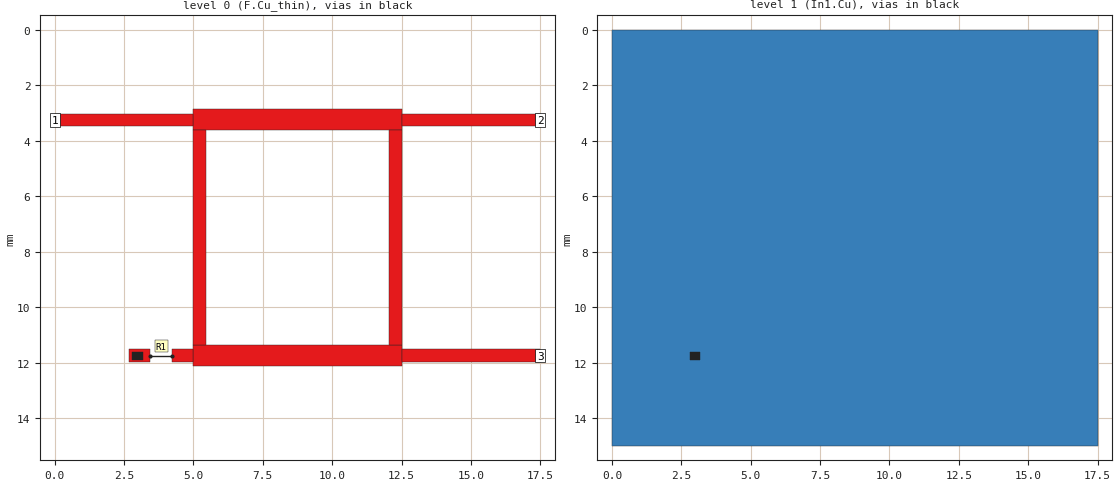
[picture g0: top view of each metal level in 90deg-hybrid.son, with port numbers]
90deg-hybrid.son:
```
FTYP SONPROJ 19 ! Sonnet Project File
VER 18.56
HEADER
LIC antikernel2.1.51813
DAT 11/27/2022 23:17:01
BUILT_BY_CREATED xgeom 18.56 11/27/2022 18:54:38
BUILT_BY_SAVED sonnet 18.56
MDATE 11/27/2022 20:04:49
HDATE 11/27/2022 20:04:49
END HEADER
DIM
ANG DEG
CAP PF
CON /OH
FREQ GHZ
IND NH
LNG MM
RES OH
END DIM
CONTROL
VARSWP
OPTIONS  -dj
SPEED 0
CACHE_ABS 2
Q_ACC N
END CONTROL
GEO
STF ../../sonnet-techfiles/oshpark/4l/oshpark-4l-nosoldermask.stf
TMET "Free Space" 0 FREESPACE 376.7303136 0 0 0
BMET "Free Space" 0 FREESPACE 376.7303136 0 0 0
BOX 0 17.5 15 1400 1200 20 0
DIM STD YDIR -1
POS 1.148053831 -8.283392231
NOM 9.25
REF1 POLY 136 1
2
REF2 POLY 135 1
1
END
DIM STD XDIR 1
POS 6.47084287 -0.5718346865
NOM 7.5
REF1 POLY 135 1
0
REF2 POLY 135 1
1
END
LORGN 0 15 U 
POR1 BOX
POLY 140 1
3
1 50 0 0 0 -4.440892099e-16 3.25 
POR1 BOX
POLY 141 1
1
2 50 0 0 0 17.5 3.25 
POR1 BOX
POLY 142 1
1
3 50 0 0 0 17.5 11.75 
SMD 0 "R1"
ID 147
GNDREF AUTO
SBOX 3.64375 4.03125 11.691875 11.808125
PBSHW N
LPOS 3.8375 11.691875
TYPE IDEAL RES 50
SMDP 0 4.225 11.75 R 4 1 
EXSMDP
GNDREF AUTO
TERMW FEED
END EXSMDP
SMDP 0 3.45 11.75 L 5 2 
EXSMDP
GNDREF AUTO
TERMW FEED
END EXSMDP
END
NUM 11
0 5 1 N 135 1 1 100 100 0 0 0 Y
TLAYNAM F.Cu_thin INH
5 2.875
12.5 2.875
12.5 3.625
5 3.625
5 2.875
END
0 5 1 N 136 1 1 100 100 0 0 0 Y
TLAYNAM F.Cu_thin INH
5 11.375
12.5 11.375
12.5 12.125
5 12.125
5 11.375
END
0 5 1 N 138 1 1 100 100 0 0 0 Y
TLAYNAM F.Cu_thin INH
5 3.625
5.45 3.625
5.45 11.375
5 11.375
5 3.625
END
0 5 1 N 139 1 1 100 100 0 0 0 Y
TLAYNAM F.Cu_thin INH
12.05 3.625
12.5 3.625
12.5 11.375
12.05 11.375
12.05 3.625
END
0 5 1 N 140 1 1 100 100 0 0 0 Y
TLAYNAM F.Cu_thin INH
-4.440892099e-16 3.025
5 3.025
5 3.475
-4.440892099e-16 3.475
-4.440892099e-16 3.025
END
0 5 1 N 141 1 1 100 100 0 0 0 Y
TLAYNAM F.Cu_thin INH
12.5 3.025
17.5 3.025
17.5 3.475
12.5 3.475
12.5 3.025
END
0 5 1 N 142 1 1 100 100 0 0 0 Y
TLAYNAM F.Cu_thin INH
12.5 11.525
17.5 11.525
17.5 11.975
12.5 11.975
12.5 11.525
END
0 5 1 N 143 1 1 100 100 0 0 0 Y
TLAYNAM F.Cu_thin INH
4.225 11.525
5 11.525
5 11.975
4.225 11.975
4.225 11.525
END
0 5 1 N 146 1 1 100 100 0 0 0 Y
TLAYNAM F.Cu_thin INH
2.675 11.525
3.45 11.525
3.45 11.975
2.675 11.975
2.675 11.525
END
VIA POLYGON
0 5 -1 N 168 1 1 100 100 0 0 0 Y
TOLEVEL 3 RING NOCOVERS
TLAYNAM Via1 INH
2.8 11.6
3.175 11.6
3.175 11.9
2.8 11.9
2.8 11.6
END
1 5 2 N 169 1 1 100 100 0 0 0 Y
TLAYNAM In1.Cu INH
0 0
17.5 0
17.5 15
0 15
0 0
END
END GEO
OPT
MAX 100
END OPT
VARSWP
ENABLED Y
FREQ Y AY ABS_ENTRY 0.1 8.5 -1 300 
END
END VARSWP
```
